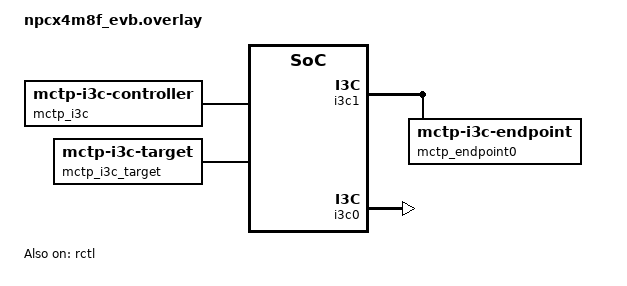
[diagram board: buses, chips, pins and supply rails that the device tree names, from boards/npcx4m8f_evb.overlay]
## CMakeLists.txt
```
cmake_minimum_required(VERSION 3.28.0)

find_package(Zephyr REQUIRED HINTS $ENV{ZEPHYR_BASE})
project(mctp_i3c_test)

target_sources(app PRIVATE src/main.c)
```

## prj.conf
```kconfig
CONFIG_I3C=y
CONFIG_MCTP=y
CONFIG_MCTP_I3C_CONTROLLER=y
CONFIG_MCTP_I3C_TARGET=y
CONFIG_MCTP_HEAP_SIZE=12288

CONFIG_ZTEST=y
```

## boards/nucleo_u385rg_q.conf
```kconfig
# IBI is the default data path; the ping_pong_polling scenario overrides it
CONFIG_I3C_USE_IBI=y
CONFIG_I3C_LOG_LEVEL_OFF=y
```

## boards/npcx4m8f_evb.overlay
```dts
/*
 * Copyright (c) 2026 Intel Corporation
 *
 * SPDX-License-Identifier: Apache-2.0
 */
&rctl {
	status = "okay";
};

/* Connect both I3C:
 *  - I3C1_SCL to I3C2_SCL
 *  - I3C1_SDA to I3C2_SDA
 * Note that there are different form factors of the board, so the actual pin
 * numbers may vary. Check the relevant schematics for details.
 */
&i3c1 {
	i3c-scl-hz = <7500000>;
	i3c-od-scl-hz = <1500000>;

	bcr = <0x46>;
	zephyr,deferred-init;
	status = "okay";

	mctp_endpoint0: mctp_endpoint0@20a00000011 {
		compatible = "zephyr,mctp-i3c-endpoint";
		reg = <0x0000 0x020a 0x00000011>;
		zephyr,deferred-init;
		status = "okay";
	};
};

&i3c0 {
	i3c-scl-hz = <7500000>;
	i3c-od-scl-hz = <1500000>;

	bcr = <0x06>;
	tgt-pid = <0x0000020a 0x00000011>;
	status = "okay";
};

&pcc {
	clock-frequency = <DT_FREQ_M(90)>; /* OFMCLK runs at 90MHz */
	core-prescaler = <3>; /* CORE_CLK runs at 30MHz */
	apb1-prescaler = <6>; /* APB1_CLK runs at 15MHz */
	apb2-prescaler = <6>; /* APB2_CLK runs at 15MHz */
	apb3-prescaler = <6>; /* APB3_CLK runs at 15MHz */
	apb4-prescaler = <3>; /* APB4_CLK runs at 30MHz */
};

/ {
	mctp_i3c: mctp_i3c {
		compatible = "zephyr,mctp-i3c-controller";
		endpoints = <&mctp_endpoint0>;
		endpoint-ids = <11>;
	};

	mctp_i3c_target: mctp_i3c_target {
		compatible = "zephyr,mctp-i3c-target";
		i3c = <&i3c0>;
		endpoint-id = <11>;
	};
};

i3c_controller: &i3c1 {};
```

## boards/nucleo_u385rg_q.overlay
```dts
/*
 * Copyright (c) 2026 Intel Corporation
 *
 * SPDX-License-Identifier: Apache-2.0
 */

/* Loopback wiring (two-wire):
 * - I3C1_SCL (PB2) <-> I3C2_SCL (PB10)
 * - I3C1_SDA (PC1) <-> I3C2_SDA (PB14)
 */
&i3c1 {
	pinctrl-0 = <&i3c1_scl_pb2 &i3c1_sda_pc1>;
	pinctrl-names = "default";
	i3c-scl-hz = <1000000>;
	i2c-scl-hz = <400000>;
	zephyr,deferred-init;
	status = "okay";

	mctp_endpoint0: mctp_endpoint0@20813818000 {
		compatible = "zephyr,mctp-i3c-endpoint";
		reg = <0x0000 0x0208 0x13818000>;
		zephyr,deferred-init;
		status = "okay";
	};
};

&i3c2 {
	pinctrl-0 = <&i3c2_scl_pb10 &i3c2_sda_pb14>;
	pinctrl-names = "default";
	target-mode;
	mipi-instance = <0x8>;
	status = "okay";
};

/ {
	mctp_i3c: mctp_i3c {
		compatible = "zephyr,mctp-i3c-controller";
		endpoints = <&mctp_endpoint0>;
		endpoint-ids = <11>;
	};

	mctp_i3c_target: mctp_i3c_target {
		compatible = "zephyr,mctp-i3c-target";
		i3c = <&i3c2>;
		endpoint-id = <11>;
	};
};

i3c_controller: &i3c1 {};

/* i2c2 shares PB14 with i3c2_sda; disable it to avoid a pinctrl conflict */
&i2c2 {
	status = "disabled";
};
```

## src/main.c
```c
/*
 * Copyright (c) 2025 Intel Corporation
 *
 * SPDX-License-Identifier: Apache-2.0
 */

#include <zephyr/types.h>
#include <zephyr/kernel.h>
#include <errno.h>
#include <libmctp.h>
#include <zephyr/pmci/mctp/mctp_i3c_controller.h>
#include <zephyr/pmci/mctp/mctp_i3c_target.h>

#include <zephyr/ztest.h>

#define LOCAL_EID 20

MCTP_I3C_CONTROLLER_DT_DEFINE(mctp_i3c_ctrl, DT_NODELABEL(mctp_i3c));
MCTP_I3C_TARGET_DT_DEFINE(mctp_i3c_target, DT_NODELABEL(mctp_i3c_target));

K_SEM_DEFINE(mctp_rx, 0, 1);

static const struct device *i3c_controller = DEVICE_DT_GET(DT_NODELABEL(i3c_controller));
static const struct device *mctp_endpoint0 = DEVICE_DT_GET(DT_NODELABEL(mctp_endpoint0));

K_THREAD_STACK_DEFINE(target_reply_workq_stack, 1024);
static struct k_work_q target_reply_workq;

struct reply_data {
	struct k_work work;
	struct mctp *mctp_ctx;
	uint8_t eid;
	const void *reply_msg;
	size_t reply_len;
};

bool ping_pong_done;

static struct reply_data reply_handler;

static const char big_message[] =
	"0123456789012345678901234567890123456789012345678901234567890123456789012345678 "
	"0123456789012345678901234567890123456789012345678901234567890123456789012345678 "
	"0123456789012345678901234567890123456789012345678901234567890123456789012345678 "
	"0123456789012345678901234567890123456789012345678901234567890123456789012345678 "
	"0123456789012345678901234567890123456789012345678901234567890123456789012345678 "
	"0123456789012345678901234567890123456789012345678901234567890123456789012345678 "
	"0123456789012345678901234567890123456789012345678901234567890123456789012345678 "
	"0123456789012345678901234567890123456789012345678901234567890123456789012345678 "
	"0123456789012345678901234567890123456789012345678901234567890123456789012345678 "
	"0123456789012345678901234567890123456789012345678901234567890123456789012345END";

static void target_reply(struct k_work *item)
{
	struct reply_data *reply = CONTAINER_OF(item, struct reply_data, work);
	int rc;

	TC_PRINT("Target replying to endpoint %d\n", reply->eid);
	rc = mctp_message_tx(reply->mctp_ctx, reply->eid, false, 0, (void *)reply->reply_msg,
			     reply->reply_len);
	zassert_ok(rc, "Failed to send reply message");
}

static void rx_message_target(uint8_t eid, bool tag_owner, uint8_t msg_tag, void *data,
			      void *msg, size_t len)
{
	ARG_UNUSED(tag_owner);
	ARG_UNUSED(msg_tag);
	ARG_UNUSED(data);
	ARG_UNUSED(len);

	TC_PRINT("Target received message \"%s\" from endpoint %d, queueing reply\n",
		(char *)msg, eid);

	zassert_ok(memcmp(msg, "ping", sizeof("ping")));

	reply_handler.eid = eid;
	k_work_submit_to_queue(&target_reply_workq, &reply_handler.work);
}

static void rx_message_target_big_msg(uint8_t eid, bool tag_owner, uint8_t msg_tag, void *data,
				      void *msg, size_t len)
{
	ARG_UNUSED(tag_owner);
	ARG_UNUSED(msg_tag);
	ARG_UNUSED(data);
	ARG_UNUSED(len);

	TC_PRINT("Target received big message from endpoint %d, queueing reply\n", eid);

	zassert_equal(len, sizeof(big_message));
	zassert_ok(memcmp(msg, big_message, sizeof(big_message)));

	reply_handler.eid = eid;
	k_work_submit_to_queue(&target_reply_workq, &reply_handler.work);
}

static struct mctp *init_target(void (*rx_callback)(uint8_t eid, bool tag_owner, uint8_t msg_tag,
						    void *data, void *msg, size_t len))
{
	struct mctp *mctp_ctx;

	TC_PRINT("MCTP Endpoint EID:%d on %s\n", mctp_i3c_target.endpoint_id, CONFIG_BOARD_TARGET);
	mctp_ctx = mctp_init();
	zassert_not_null(mctp_ctx, "Failed to initialize MCTP context for target");

	mctp_register_bus(mctp_ctx, &mctp_i3c_target.binding, mctp_i3c_target.endpoint_id);
	mctp_set_rx_all(mctp_ctx, rx_callback, NULL);

	reply_handler.mctp_ctx = mctp_ctx;
	k_work_init(&reply_handler.work, target_reply);

	return mctp_ctx;
}

static void rx_message(uint8_t eid, bool tag_owner, uint8_t msg_tag, void *data, void *msg,
		       size_t len)
{
	TC_PRINT("Received message \"%s\" from endpoint %d to %d, msg_tag %d, len %zu\n",
		(char *)msg, eid, LOCAL_EID, msg_tag, len);

	zassert_ok(memcmp(msg, "pong", sizeof("pong")));

	ping_pong_done = true;
	k_sem_give(&mctp_rx);
}

static void rx_message_big(uint8_t eid, bool tag_owner, uint8_t msg_tag, void *data, void *msg,
			   size_t len)
{
	ARG_UNUSED(tag_owner);
	ARG_UNUSED(msg_tag);
	ARG_UNUSED(data);

	TC_PRINT("Received big message from endpoint %d to %d, len %zu\n", eid, LOCAL_EID, len);

	zassert_equal(len, sizeof(big_message));
	zassert_ok(memcmp(msg, big_message, sizeof(big_message)));

	ping_pong_done = true;
	k_sem_give(&mctp_rx);
}

static void *suite_setup(void)
{
	int rc;
	const struct device *i3c_target = mctp_i3c_target.i3c;

	k_work_queue_init(&target_reply_workq);
	k_work_queue_start(&target_reply_workq, target_reply_workq_stack,
			   K_THREAD_STACK_SIZEOF(target_reply_workq_stack),
			   CONFIG_SYSTEM_WORKQUEUE_PRIORITY, NULL);

	/* Some boards use deferred init for I3C devices while others initialize
	 * them during system boot. Treat both as valid setup states.
	 */
	rc = device_init(i3c_target);
	if (rc != 0 && rc != -EALREADY) {
		zassert_ok(rc, "Failed to initialize I3C target device");
	}

	/* The I3C target must be registered with the hardware before the
	 * controller initializes. On NPCX4, the controller sends a target
	 * reset pattern and performs DAA during init — the target must be
	 * alive and responding at that point. We register the target config
	 * directly here rather than going through mctp_register_bus, so the
	 * per-test MCTP contexts remain independent. The per-test calls to
	 * init_target() will later re-register the same pointer, which is
	 * idempotent on the NPCX driver.
	 */
	rc = i3c_target_register(i3c_target, &mctp_i3c_target.i3c_target_cfg);
	zassert_ok(rc, "Failed to pre-register I3C target");

	rc = device_init(i3c_controller);
	if (rc != 0 && rc != -EALREADY) {
		zassert_ok(rc, "Failed to initialize I3C controller device");
	}

	rc = device_init(mctp_endpoint0);
	if (rc != 0 && rc != -EALREADY) {
		zassert_ok(rc, "Failed to initialize MCTP endpoint device");
	}

	return NULL;
}

ZTEST(mctp_i3c_test_suite, test_mctp_i3c_ping_pong)
{
	int rc;
	struct mctp *mctp_ctx, *mctp_ctx_target;

	mctp_ctx_target = init_target(rx_message_target);
	reply_handler.reply_msg = "pong";
	reply_handler.reply_len = sizeof("pong");

	TC_PRINT("MCTP Host EID:%d on %s\n", LOCAL_EID, CONFIG_BOARD_TARGET);

	mctp_ctx = mctp_init();
	zassert_not_null(mctp_ctx, "Failed to initialize MCTP context for controller");
	mctp_register_bus(mctp_ctx, &mctp_i3c_ctrl.binding, LOCAL_EID);
	mctp_set_rx_all(mctp_ctx, rx_message, NULL);

	TC_PRINT("Sending message \"ping\" to endpoint %u\n",
		mctp_i3c_ctrl.endpoint_ids[0]);

	rc = mctp_message_tx(mctp_ctx, mctp_i3c_ctrl.endpoint_ids[0], false, 0, (void *)"ping",
			     sizeof("ping"));
	zassert_ok(rc, "Failed to send message");

	/* Wait ping-pong to complete */
	k_sem_take(&mctp_rx, K_SECONDS(5));
	zassert_true(ping_pong_done, "Ping-pong message exchange failed");

	mctp_destroy(mctp_ctx);
	mctp_destroy(mctp_ctx_target);
}

ZTEST(mctp_i3c_test_suite, test_mctp_i3c_ping_pong_big_message)
{
	int rc;
	struct mctp *mctp_ctx, *mctp_ctx_target;

	mctp_ctx_target = init_target(rx_message_target_big_msg);
	reply_handler.reply_msg = big_message;
	reply_handler.reply_len = sizeof(big_message);

	TC_PRINT("MCTP Host EID:%d on %s\n", LOCAL_EID, CONFIG_BOARD_TARGET);

	mctp_ctx = mctp_init();
	zassert_not_null(mctp_ctx, "Failed to initialize MCTP context for controller");
	mctp_register_bus(mctp_ctx, &mctp_i3c_ctrl.binding, LOCAL_EID);
	mctp_set_rx_all(mctp_ctx, rx_message_big, NULL);

	TC_PRINT("Sending big message to endpoint %u\n", mctp_i3c_ctrl.endpoint_ids[0]);

	rc = mctp_message_tx(mctp_ctx, mctp_i3c_ctrl.endpoint_ids[0], false, 0, (void *)big_message,
			     sizeof(big_message));
	zassert_ok(rc, "Failed to send message");

	/* Wait ping-pong to complete */
	k_sem_take(&mctp_rx, K_SECONDS(5));
	zassert_true(ping_pong_done, "Ping-pong message exchange failed");

	mctp_destroy(mctp_ctx);
	mctp_destroy(mctp_ctx_target);
}

static void cleanup(void *p)
{
	ARG_UNUSED(p);

	ping_pong_done = false;
}

ZTEST_SUITE(mctp_i3c_test_suite, NULL, suite_setup, NULL, cleanup, NULL);
```
